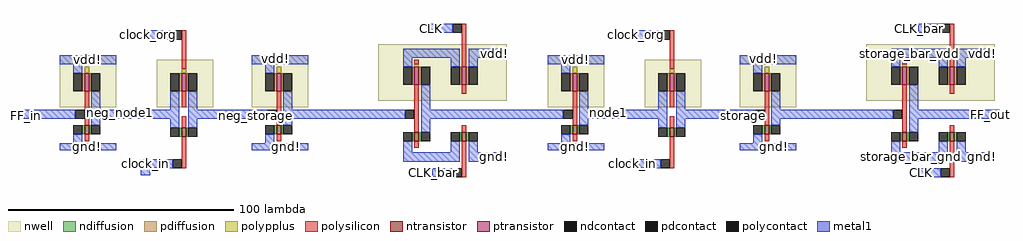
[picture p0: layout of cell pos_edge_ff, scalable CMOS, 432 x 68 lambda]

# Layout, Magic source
magic
tech scmos
<< nwell >>
rect -143 66 -118 89
rect -100 66 -75 87
rect -58 66 -33 89
rect -2 69 55 94
rect 73 66 98 89
rect 116 66 141 87
rect 158 66 183 89
rect 214 69 271 94
<< ntransistor >>
rect -132 54 -130 58
rect -89 53 -87 57
rect -47 54 -45 58
rect 14 51 16 55
rect 35 51 37 55
rect 84 54 86 58
rect 127 53 129 57
rect 169 54 171 58
rect 230 51 232 55
rect 251 51 253 55
<< ptransistor >>
rect -132 73 -130 81
rect -89 73 -87 81
rect -47 73 -45 81
rect 14 76 16 84
rect 35 76 37 84
rect 84 73 86 81
rect 127 73 129 81
rect 169 73 171 81
rect 230 76 232 84
rect 251 76 253 84
<< ndiffusion >>
rect -133 54 -132 58
rect -130 54 -129 58
rect -90 53 -89 57
rect -87 53 -86 57
rect -48 54 -47 58
rect -45 54 -44 58
rect 13 51 14 55
rect 16 51 17 55
rect 34 51 35 55
rect 37 51 38 55
rect 83 54 84 58
rect 86 54 87 58
rect 126 53 127 57
rect 129 53 130 57
rect 168 54 169 58
rect 171 54 172 58
rect 229 51 230 55
rect 232 51 233 55
rect 250 51 251 55
rect 253 51 254 55
<< pdiffusion >>
rect -133 73 -132 81
rect -130 73 -129 81
rect -90 73 -89 81
rect -87 73 -86 81
rect -48 73 -47 81
rect -45 73 -44 81
rect 13 76 14 84
rect 16 76 17 84
rect 34 76 35 84
rect 37 76 38 84
rect 83 73 84 81
rect 86 73 87 81
rect 126 73 127 81
rect 129 73 130 81
rect 168 73 169 81
rect 171 73 172 81
rect 229 76 230 84
rect 232 76 233 84
rect 250 76 251 84
rect 253 76 254 84
<< ndcontact >>
rect -137 54 -133 58
rect -129 54 -125 58
rect -94 53 -90 57
rect -86 53 -82 57
rect -52 54 -48 58
rect -44 54 -40 58
rect 9 51 13 55
rect 17 51 21 55
rect 30 51 34 55
rect 38 51 42 55
rect 79 54 83 58
rect 87 54 91 58
rect 122 53 126 57
rect 130 53 134 57
rect 164 54 168 58
rect 172 54 176 58
rect 225 51 229 55
rect 233 51 237 55
rect 246 51 250 55
rect 254 51 258 55
<< pdcontact >>
rect -137 73 -133 81
rect -129 73 -125 81
rect -94 73 -90 81
rect -86 73 -82 81
rect -52 73 -48 81
rect -44 73 -40 81
rect 9 76 13 84
rect 17 76 21 84
rect 30 76 34 84
rect 38 76 42 84
rect 79 73 83 81
rect 87 73 91 81
rect 122 73 126 81
rect 130 73 134 81
rect 164 73 168 81
rect 172 73 176 81
rect 225 76 229 84
rect 233 76 237 84
rect 246 76 250 84
rect 254 76 258 84
<< polysilicon >>
rect -89 83 -87 100
rect 14 85 16 87
rect 35 84 37 103
rect 127 83 129 100
rect 230 85 232 87
rect 251 84 253 103
rect -132 58 -130 73
rect -89 66 -87 73
rect -89 57 -87 62
rect -47 58 -45 73
rect -132 51 -130 54
rect 14 55 16 76
rect 35 72 37 76
rect 84 58 86 73
rect 127 66 129 73
rect 35 55 37 58
rect -89 39 -87 53
rect -47 51 -45 54
rect 127 57 129 62
rect 169 58 171 73
rect 84 51 86 54
rect 230 55 232 76
rect 251 72 253 76
rect 251 55 253 58
rect 14 48 16 51
rect 35 35 37 51
rect 127 39 129 53
rect 169 51 171 54
rect 230 48 232 51
rect 251 35 253 51
<< polycontact >>
rect -93 96 -89 100
rect 31 99 35 103
rect 123 96 127 100
rect 247 99 251 103
rect -136 61 -132 65
rect -51 61 -47 65
rect 10 61 14 65
rect 80 61 84 65
rect -93 39 -89 43
rect 165 61 169 65
rect 226 61 230 65
rect 31 35 35 39
rect 123 39 127 43
rect 247 35 251 39
<< polypplus >>
rect -132 81 -130 84
rect 14 84 16 85
rect -89 81 -87 83
rect -47 81 -45 84
rect 84 81 86 84
rect 230 84 232 85
rect 127 81 129 83
rect 169 81 171 84
<< metal1 >>
rect -105 96 -93 100
rect 21 99 31 103
rect 111 96 123 100
rect 237 99 247 103
rect -143 85 -118 89
rect -58 85 -33 89
rect 9 88 34 92
rect -137 81 -133 85
rect -52 81 -48 85
rect 9 84 13 88
rect 30 84 34 88
rect -129 65 -125 73
rect -94 65 -90 73
rect -159 61 -136 65
rect -129 61 -90 65
rect -129 58 -125 61
rect -94 57 -90 61
rect -137 50 -133 54
rect 38 88 51 92
rect 38 84 42 88
rect 73 85 98 89
rect 158 85 183 89
rect 225 88 250 92
rect 79 81 83 85
rect 164 81 168 85
rect 225 84 229 88
rect 246 84 250 88
rect -86 65 -82 73
rect -44 65 -40 73
rect 17 65 21 76
rect 87 65 91 73
rect 122 65 126 73
rect -86 61 -51 65
rect -44 61 10 65
rect 17 61 80 65
rect 87 61 126 65
rect -86 57 -82 61
rect -44 58 -40 61
rect 17 55 21 61
rect 87 58 91 61
rect -52 50 -48 54
rect -143 47 -118 50
rect -58 47 -33 50
rect 9 46 13 51
rect 30 46 34 51
rect -107 39 -93 43
rect 9 42 34 46
rect 38 46 42 51
rect 122 57 126 61
rect 79 50 83 54
rect 254 88 267 92
rect 254 84 258 88
rect 130 65 134 73
rect 172 65 176 73
rect 233 65 237 76
rect 130 61 165 65
rect 172 61 226 65
rect 233 61 273 65
rect 130 57 134 61
rect 172 58 176 61
rect 233 55 237 61
rect 164 50 168 54
rect 73 47 98 50
rect 158 47 183 50
rect 225 46 229 51
rect 246 46 250 51
rect 38 42 51 46
rect 109 39 123 43
rect 225 42 250 46
rect 254 46 258 51
rect 254 42 267 46
rect -107 36 -103 39
rect 22 35 31 39
rect 238 35 247 39
<< labels >>
rlabel metal1 21 100 22 102 5 CLK
rlabel metal1 22 35 23 39 1 CLK_bar
rlabel metal1 49 89 50 91 1 vdd!
rlabel metal1 49 43 50 45 1 gnd!
rlabel metal1 -143 85 -118 89 1 vdd!
rlabel metal1 -143 47 -118 50 1 gnd!
rlabel metal1 -43 48 -42 49 1 gnd!
rlabel metal1 -48 87 -47 88 1 vdd!
rlabel metal1 265 89 266 91 1 vdd!
rlabel metal1 265 43 266 45 1 gnd!
rlabel metal1 73 85 98 89 1 vdd!
rlabel metal1 73 47 98 50 1 gnd!
rlabel metal1 159 62 160 63 1 storage
rlabel metal1 184 62 186 63 1 storage_bar
rlabel metal1 99 63 101 64 1 node1
rlabel metal1 233 43 235 45 1 storage_bar_gnd
rlabel metal1 232 89 234 91 1 storage_bar_vdd
rlabel metal1 173 48 174 49 1 gnd!
rlabel metal1 168 87 169 88 1 vdd!
rlabel metal1 238 35 239 39 1 CLK
rlabel metal1 237 100 238 102 5 CLK_bar
rlabel metal1 -117 63 -115 64 1 neg_node1
rlabel metal1 -57 62 -56 63 1 neg_storage
rlabel metal1 -32 62 -30 63 1 neg_storage_bar
rlabel metal1 17 43 19 45 1 neg_storage_bar_gnd
rlabel metal1 16 89 18 91 1 neg_storage_bar_vdd
rlabel metal1 -158 62 -157 63 3 FF_in
rlabel metal1 268 62 270 64 7 FF_out
rlabel metal1 111 96 114 100 5 clock_org
rlabel metal1 109 39 112 43 1 clock_in
rlabel metal1 -105 96 -102 100 5 clock_org
rlabel metal1 -107 39 -103 43 1 clock_in
<< end >>
